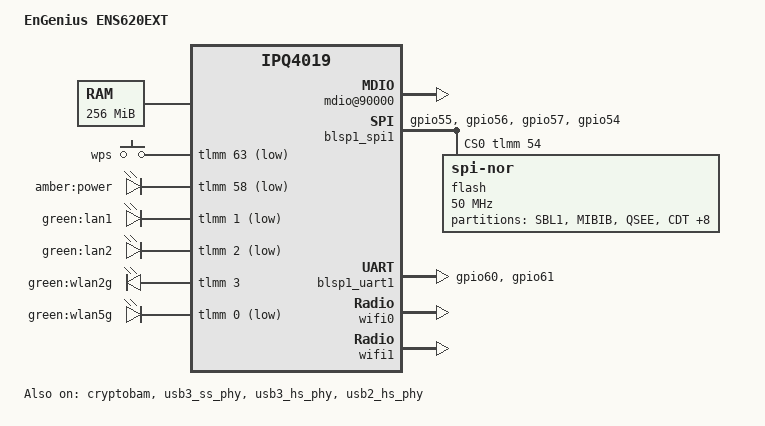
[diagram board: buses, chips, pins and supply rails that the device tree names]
// SPDX-License-Identifier: GPL-2.0-or-later OR MIT

#include "qcom-ipq4019.dtsi"
#include <dt-bindings/gpio/gpio.h>
#include <dt-bindings/input/input.h>
#include <dt-bindings/soc/qcom,tcsr.h>

/ {
	model = "EnGenius ENS620EXT";
	compatible = "engenius,ens620ext";

	memory {
		device_type = "memory";
		reg = <0x80000000 0x10000000>;
	};

	aliases {
		led-boot = &power;
		led-failsafe = &power;
		led-running = &power;
		led-upgrade = &power;
	};

	soc {
		rng@22000 {
			status = "okay";
		};

		mdio@90000 {
			status = "okay";
		};

		ess-psgmii@98000 {
			status = "okay";
		};

		tcsr@1949000 {
			compatible = "qcom,tcsr";
			reg = <0x1949000 0x100>;
			qcom,wifi_glb_cfg = <TCSR_WIFI_GLB_CFG>;
		};

		ess_tcsr@1953000 {
			compatible = "qcom,tcsr";
			reg = <0x1953000 0x1000>;
			qcom,ess-interface-select = <TCSR_ESS_PSGMII>;
		};

		tcsr@1957000 {
			compatible = "qcom,tcsr";
			reg = <0x1957000 0x100>;
			qcom,wifi_noc_memtype_m0_m2 = <TCSR_WIFI_NOC_MEMTYPE_M0_M2>;
		};

		crypto@8e3a000 {
			status = "okay";
		};

		watchdog@b017000 {
			status = "okay";
		};

		ess-switch@c000000 {
			status = "okay";
		};

		edma@c080000 {
			status = "okay";
		};

		/*
		 * Disable the broken restart as a workaround for the buggy
		 * 3.0.0/3.0.1 U-boots that ship with the device.
		 * Note: The watchdog is now used to restart this device.
		 */
		restart@4ab000 {
			status = "disabled";
		};
	};

	buttons {
		compatible = "gpio-keys";

		wps {
			label = "wps";
			gpios = <&tlmm 63 GPIO_ACTIVE_LOW>;
			linux,code = <KEY_WPS_BUTTON>;
		};
	};

	leds {
		compatible = "gpio-leds";

		power: power {
			label = "amber:power";
			gpios = <&tlmm 58 GPIO_ACTIVE_LOW>;
		};

		lan1 {
			label = "green:lan1";
			gpios = <&tlmm 1 GPIO_ACTIVE_LOW>;
		};

		lan2 {
			label = "green:lan2";
			gpios = <&tlmm 2 GPIO_ACTIVE_LOW>;
		};

		wlan2g {
			label = "green:wlan2g";
			gpios = <&tlmm 3 GPIO_ACTIVE_HIGH>;
		};

		wlan5g {
			label = "green:wlan5g";
			gpios = <&tlmm 0 GPIO_ACTIVE_LOW>;
		};
	};
};

&cryptobam {
	status = "okay";
};

&blsp_dma {
	status = "okay";
};

&tlmm {
	serial_pins: serial_pinmux {
		mux {
			pins = "gpio60", "gpio61";
			function = "blsp_uart0";
			bias-disable;
		};
	};

	spi_0_pins: spi_0_pinmux {
		mux {
			function = "blsp_spi0";
			pins = "gpio55", "gpio56", "gpio57";
			drive-strength = <12>;
			bias-disable;
		};

		mux_cs {
			function = "gpio";
			pins = "gpio54";
			drive-strength = <2>;
			bias-disable;
			output-high;
		};
	};
};

&blsp1_spi1 { /* BLSP1 QUP1 */
	pinctrl-0 = <&spi_0_pins>;
	pinctrl-names = "default";
	status = "okay";
	cs-gpios = <&tlmm 54 GPIO_ACTIVE_HIGH>;

	flash@0 {
		#address-cells = <1>;
		#size-cells = <0>;
		compatible = "jedec,spi-nor";
		reg = <0>;
		spi-max-frequency = <50000000>;
		m25p,fast-read;

		partitions {
			compatible = "fixed-partitions";
			#address-cells = <1>;
			#size-cells = <1>;

			partition@0 {
				label = "SBL1";
				reg = <0x00000000 0x00040000>;
				read-only;
			};

			partition@40000 {
				label = "MIBIB";
				reg = <0x00040000 0x00020000>;
				read-only;
			};

			partition@60000 {
				label = "QSEE";
				reg = <0x00060000 0x00060000>;
				read-only;
			};

			partition@c0000 {
				label = "CDT";
				reg = <0x000c0000 0x00010000>;
				read-only;
			};

			partition@d0000 {
				label = "DDRPARAMS";
				reg = <0x000d0000 0x00010000>;
				read-only;
			};

			partition@e0000 {
				label = "APPSBLENV"; /* uboot env*/
				reg = <0x000e0000 0x00010000>;
				read-only;
			};

			partition@f0000 {
				label = "APPSBL"; /* uboot */
				reg = <0x000f0000 0x00090000>;
				read-only;
			};

			partition@180000 {
				label = "ART";
				reg = <0x00180000 0x00010000>;
				read-only;
			};

			partition@190000 {
				compatible = "denx,fit";
				label = "firmware";
				reg = <0x00190000 0x14d0000>;
			};

			partition@1660000 {
				label = "failsafe";
				reg = <0x01660000 0x008F0000>;
				read-only;
			};

			partition@1f50000 {
				label = "u-boot-env";
				reg = <0x01f50000 0x00010000>;
				read-only;
			};

			partition@1f60000 {
				label = "userconfig";
				reg = <0x01f60000 0x000a0000>;
				read-only;
			};
		};
	};
};

&blsp1_uart1 {
	pinctrl-0 = <&serial_pins>;
	pinctrl-names = "default";
	status = "okay";
};

&usb3_ss_phy {
	status = "okay";
};

&usb3_hs_phy {
	status = "okay";
};

&usb2_hs_phy {
	status = "okay";
};

&wifi0 {
	status = "okay";
	qcom,ath10k-calibration-variant = "EnGenius-ENS620EXT";
};

&wifi1 {
	status = "okay";
	qcom,ath10k-calibration-variant = "EnGenius-ENS620EXT";
};
